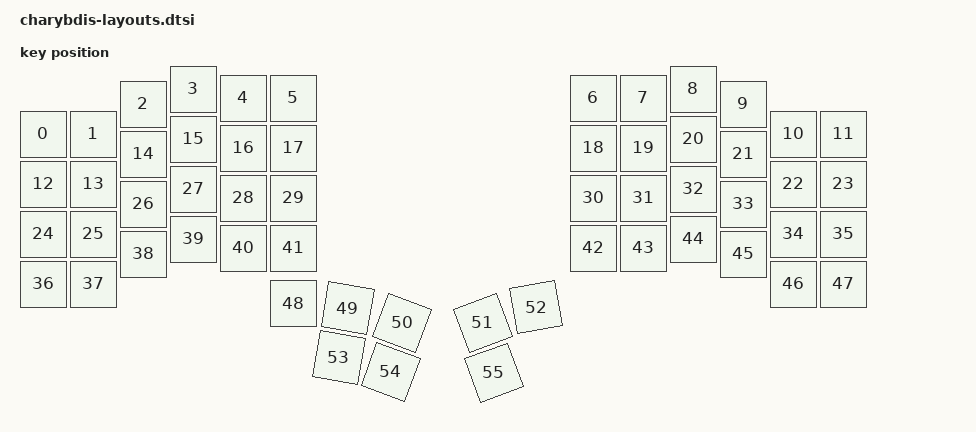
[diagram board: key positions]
#include <physical_layouts.dtsi>

/ {
    charybdis_physical_layout: charybdis_physical_layout {
        compatible = "zmk,physical-layout";
        display-name = "Charybdis 4x6";
        kscan = <&kscan0>;
        transform = <&default_transform>;

        keys  //                     w   h    x    y     rot    rx    ry
            = <&key_physical_attrs 100 100    0   90       0     0     0>
            , <&key_physical_attrs 100 100  100   90       0     0     0>
            , <&key_physical_attrs 100 100  200   30       0     0     0>
            , <&key_physical_attrs 100 100  300    0       0     0     0>
            , <&key_physical_attrs 100 100  400   18       0     0     0>
            , <&key_physical_attrs 100 100  500   18       0     0     0>
            , <&key_physical_attrs 100 100 1100   18       0     0     0>
            , <&key_physical_attrs 100 100 1200   18       0     0     0>
            , <&key_physical_attrs 100 100 1300    0       0     0     0>
            , <&key_physical_attrs 100 100 1400   30       0     0     0>
            , <&key_physical_attrs 100 100 1500   90       0     0     0>
            , <&key_physical_attrs 100 100 1600   90       0     0     0>
            , <&key_physical_attrs 100 100    0  190       0     0     0>
            , <&key_physical_attrs 100 100  100  190       0     0     0>
            , <&key_physical_attrs 100 100  200  130       0     0     0>
            , <&key_physical_attrs 100 100  300  100       0     0     0>
            , <&key_physical_attrs 100 100  400  118       0     0     0>
            , <&key_physical_attrs 100 100  500  118       0     0     0>
            , <&key_physical_attrs 100 100 1100  118       0     0     0>
            , <&key_physical_attrs 100 100 1200  118       0     0     0>
            , <&key_physical_attrs 100 100 1300  100       0     0     0>
            , <&key_physical_attrs 100 100 1400  130       0     0     0>
            , <&key_physical_attrs 100 100 1500  190       0     0     0>
            , <&key_physical_attrs 100 100 1600  190       0     0     0>
            , <&key_physical_attrs 100 100    0  290       0     0     0>
            , <&key_physical_attrs 100 100  100  290       0     0     0>
            , <&key_physical_attrs 100 100  200  230       0     0     0>
            , <&key_physical_attrs 100 100  300  200       0     0     0>
            , <&key_physical_attrs 100 100  400  218       0     0     0>
            , <&key_physical_attrs 100 100  500  218       0     0     0>
            , <&key_physical_attrs 100 100 1100  218       0     0     0>
            , <&key_physical_attrs 100 100 1200  218       0     0     0>
            , <&key_physical_attrs 100 100 1300  200       0     0     0>
            , <&key_physical_attrs 100 100 1400  230       0     0     0>
            , <&key_physical_attrs 100 100 1500  290       0     0     0>
            , <&key_physical_attrs 100 100 1600  290       0     0     0>
            , <&key_physical_attrs 100 100    0  390       0     0     0>
            , <&key_physical_attrs 100 100  100  390       0     0     0>
            , <&key_physical_attrs 100 100  200  330       0     0     0>
            , <&key_physical_attrs 100 100  300  300       0     0     0>
            , <&key_physical_attrs 100 100  400  318       0     0     0>
            , <&key_physical_attrs 100 100  500  318       0     0     0>
            , <&key_physical_attrs 100 100 1100  318       0     0     0>
            , <&key_physical_attrs 100 100 1200  318       0     0     0>
            , <&key_physical_attrs 100 100 1300  300       0     0     0>
            , <&key_physical_attrs 100 100 1400  330       0     0     0>
            , <&key_physical_attrs 100 100 1500  390       0     0     0>
            , <&key_physical_attrs 100 100 1600  390       0     0     0>
            , <&key_physical_attrs 100 100  500  429       0     0     0>
            , <&key_physical_attrs 100 100  553  398    1000   400   790>
            , <&key_physical_attrs 100 100  603  358    2000   400   790>
            , <&key_physical_attrs 100 100  983  426 (-2000)  1100   790>
            , <&key_physical_attrs 100 100 1040  430 (-1000)  1100   790>
            , <&key_physical_attrs 100 100  553  498    1000   400   790>
            , <&key_physical_attrs 100 100  615  458    2000   400   790>
            , <&key_physical_attrs 100 100  970  527 (-2000)  1100   790>
            ;
    };

    position_map {
        compatible = "zmk,physical-layout-position-map";

        charybdis_physical_layout {
            physical-layout = <&charybdis_physical_layout>;
            positions = <>;
        };
    };
};

